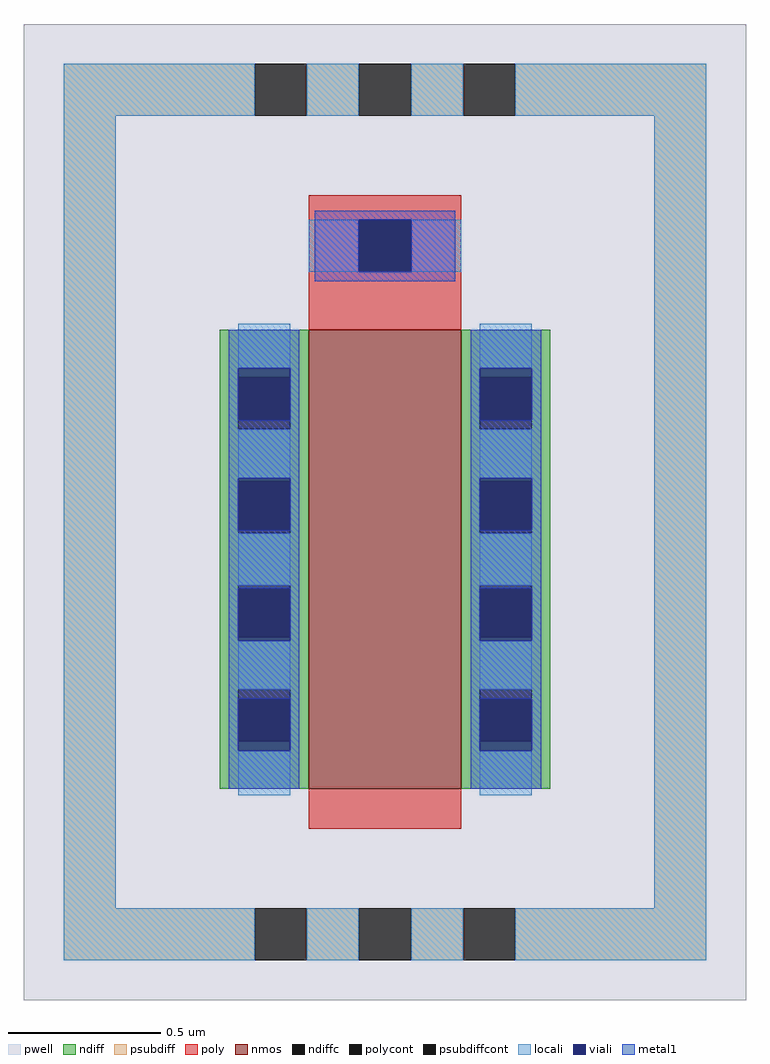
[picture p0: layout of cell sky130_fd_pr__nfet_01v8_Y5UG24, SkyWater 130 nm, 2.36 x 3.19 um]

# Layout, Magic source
magic
tech sky130A
magscale 1 2
<< pwell >>
rect -236 -319 236 319
<< nmos >>
rect -50 -181 50 119
<< ndiff >>
rect -108 88 -50 119
rect -108 54 -96 88
rect -62 54 -50 88
rect -108 20 -50 54
rect -108 -14 -96 20
rect -62 -14 -50 20
rect -108 -48 -50 -14
rect -108 -82 -96 -48
rect -62 -82 -50 -48
rect -108 -116 -50 -82
rect -108 -150 -96 -116
rect -62 -150 -50 -116
rect -108 -181 -50 -150
rect 50 88 108 119
rect 50 54 62 88
rect 96 54 108 88
rect 50 20 108 54
rect 50 -14 62 20
rect 96 -14 108 20
rect 50 -48 108 -14
rect 50 -82 62 -48
rect 96 -82 108 -48
rect 50 -116 108 -82
rect 50 -150 62 -116
rect 96 -150 108 -116
rect 50 -181 108 -150
<< ndiffc >>
rect -96 54 -62 88
rect -96 -14 -62 20
rect -96 -82 -62 -48
rect -96 -150 -62 -116
rect 62 54 96 88
rect 62 -14 96 20
rect 62 -82 96 -48
rect 62 -150 96 -116
<< psubdiff >>
rect -210 259 -85 293
rect -51 259 -17 293
rect 17 259 51 293
rect 85 259 210 293
rect -210 -259 -176 259
rect 176 -259 210 259
rect -210 -293 -85 -259
rect -51 -293 -17 -259
rect 17 -293 51 -259
rect 85 -293 210 -259
<< psubdiffcont >>
rect -85 259 -51 293
rect -17 259 17 293
rect 51 259 85 293
rect -85 -293 -51 -259
rect -17 -293 17 -259
rect 51 -293 85 -259
<< poly >>
rect -50 191 50 207
rect -50 157 -17 191
rect 17 157 50 191
rect -50 119 50 157
rect -50 -207 50 -181
<< polycont >>
rect -17 157 17 191
<< locali >>
rect -210 259 -85 293
rect -51 259 -17 293
rect 17 259 51 293
rect 85 259 210 293
rect -210 -259 -176 259
rect -50 157 -17 191
rect 17 157 50 191
rect -96 94 -62 123
rect -96 22 -62 54
rect -96 -48 -62 -14
rect -96 -116 -62 -84
rect -96 -185 -62 -156
rect 62 94 96 123
rect 62 22 96 54
rect 62 -48 96 -14
rect 62 -116 96 -84
rect 62 -185 96 -156
rect 176 -259 210 259
rect -210 -293 -85 -259
rect -51 -293 -17 -259
rect 17 -293 51 -259
rect 85 -293 210 -259
<< viali >>
rect -17 157 17 191
rect -96 88 -62 94
rect -96 60 -62 88
rect -96 20 -62 22
rect -96 -12 -62 20
rect -96 -82 -62 -50
rect -96 -84 -62 -82
rect -96 -150 -62 -122
rect -96 -156 -62 -150
rect 62 88 96 94
rect 62 60 96 88
rect 62 20 96 22
rect 62 -12 96 20
rect 62 -82 96 -50
rect 62 -84 96 -82
rect 62 -150 96 -122
rect 62 -156 96 -150
<< metal1 >>
rect -46 191 46 197
rect -46 157 -17 191
rect 17 157 46 191
rect -46 151 46 157
rect -102 94 -56 119
rect -102 60 -96 94
rect -62 60 -56 94
rect -102 22 -56 60
rect -102 -12 -96 22
rect -62 -12 -56 22
rect -102 -50 -56 -12
rect -102 -84 -96 -50
rect -62 -84 -56 -50
rect -102 -122 -56 -84
rect -102 -156 -96 -122
rect -62 -156 -56 -122
rect -102 -181 -56 -156
rect 56 94 102 119
rect 56 60 62 94
rect 96 60 102 94
rect 56 22 102 60
rect 56 -12 62 22
rect 96 -12 102 22
rect 56 -50 102 -12
rect 56 -84 62 -50
rect 96 -84 102 -50
rect 56 -122 102 -84
rect 56 -156 62 -122
rect 96 -156 102 -122
rect 56 -181 102 -156
<< properties >>
string FIXED_BBOX -193 -276 193 276
<< end >>
